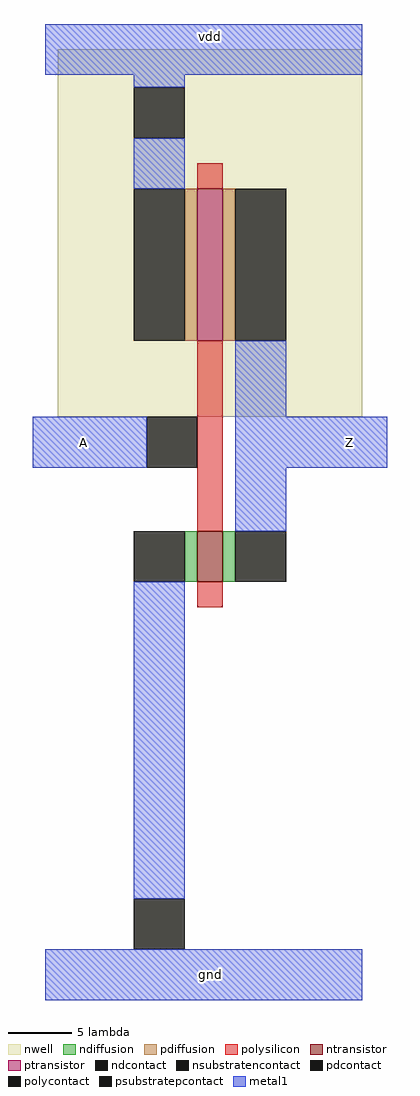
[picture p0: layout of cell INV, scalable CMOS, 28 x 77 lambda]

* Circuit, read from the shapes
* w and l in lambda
.subckt INV A Z gnd vdd
M1 Z A gnd gnd nfet w=4 l=2
M2 Z A vdd vdd pfet w=12 l=2
.ends

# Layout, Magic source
magic
tech scmos
<< nwell >>
rect 170 -4 194 25
<< ntransistor >>
rect 181 -17 183 -13
<< ptransistor >>
rect 181 2 183 14
<< ndiffusion >>
rect 180 -17 181 -13
rect 183 -17 184 -13
<< pdiffusion >>
rect 180 2 181 14
rect 183 2 184 14
<< ndcontact >>
rect 176 -17 180 -13
rect 184 -17 188 -13
<< pdcontact >>
rect 176 2 180 14
rect 184 2 188 14
<< psubstratepcontact >>
rect 176 -46 180 -42
<< nsubstratencontact >>
rect 176 18 180 22
<< polysilicon >>
rect 181 14 183 16
rect 181 -13 183 2
rect 181 -19 183 -17
<< polycontact >>
rect 177 -8 181 -4
<< metal1 >>
rect 169 23 194 27
rect 176 22 180 23
rect 176 14 180 18
rect 184 -4 188 2
rect 168 -8 177 -4
rect 184 -8 196 -4
rect 184 -13 188 -8
rect 176 -42 180 -17
rect 169 -50 194 -46
<< labels >>
rlabel metal1 182 -48 182 -48 1 gnd
rlabel metal1 182 26 182 26 5 vdd
rlabel metal1 172 -6 172 -6 3 A
rlabel metal1 193 -6 193 -6 7 Z
<< end >>
